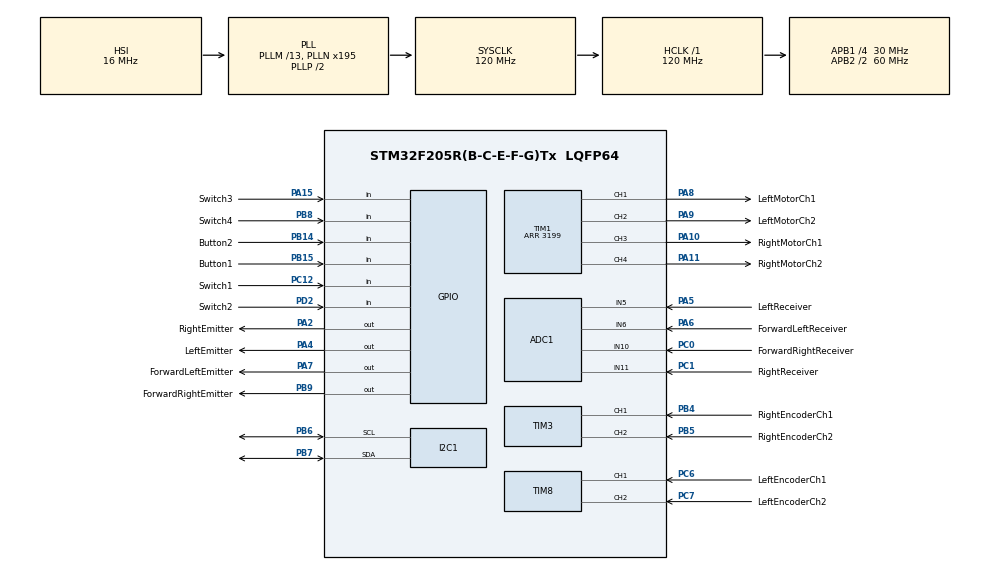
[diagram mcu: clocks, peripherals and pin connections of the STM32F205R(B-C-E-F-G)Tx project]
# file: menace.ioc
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ADC1.Channel-1\#ChannelRegularConversion=ADC_CHANNEL_5
ADC1.Channel-5\#ChannelRegularConversion=ADC_CHANNEL_6
ADC1.Channel-6\#ChannelRegularConversion=ADC_CHANNEL_10
ADC1.Channel-7\#ChannelRegularConversion=ADC_CHANNEL_11
ADC1.ClockPrescaler=ADC_CLOCK_SYNC_PCLK_DIV8
ADC1.ContinuousConvMode=ENABLE
ADC1.DMAContinuousRequests=ENABLE
ADC1.DiscontinuousConvMode=DISABLE
ADC1.NbrOfConversion=4
ADC1.NbrOfConversionFlag=1
ADC1.Rank-1\#ChannelRegularConversion=1
ADC1.Rank-5\#ChannelRegularConversion=2
ADC1.Rank-6\#ChannelRegularConversion=3
ADC1.Rank-7\#ChannelRegularConversion=4
ADC1.SamplingTime-1\#ChannelRegularConversion=ADC_SAMPLETIME_3CYCLES
ADC1.SamplingTime-5\#ChannelRegularConversion=ADC_SAMPLETIME_3CYCLES
ADC1.SamplingTime-6\#ChannelRegularConversion=ADC_SAMPLETIME_3CYCLES
ADC1.SamplingTime-7\#ChannelRegularConversion=ADC_SAMPLETIME_3CYCLES
ADC1.ScanConvMode=ENABLE
ADC1.master=1
Dma.ADC1.0.Direction=DMA_PERIPH_TO_MEMORY
Dma.ADC1.0.FIFOMode=DMA_FIFOMODE_DISABLE
Dma.ADC1.0.Instance=DMA2_Stream0
Dma.ADC1.0.MemDataAlignment=DMA_MDATAALIGN_WORD
Dma.ADC1.0.MemInc=DMA_MINC_ENABLE
Dma.ADC1.0.Mode=DMA_CIRCULAR
Dma.ADC1.0.PeriphDataAlignment=DMA_PDATAALIGN_WORD
Dma.ADC1.0.PeriphInc=DMA_PINC_DISABLE
Dma.ADC1.0.Priority=DMA_PRIORITY_LOW
Dma.Request0=ADC1
I2C1.I2C_Mode=I2C_Fast
Mcu.Family=STM32F2
Mcu.Name=STM32F205R(B-C-E-F-G)Tx
Mcu.Package=LQFP64
NVIC.DMA2_Stream0_IRQn=true\:0\:0\:false\:false\:true\:false\:true\:true
NVIC.PriorityGroup=NVIC_PRIORITYGROUP_4
NVIC.TIM1_UP_TIM10_IRQn=true\:0\:0\:false\:false\:true\:true\:true\:true
NVIC.TIM7_IRQn=true\:0\:0\:false\:false\:true\:true\:true\:true
PA10.GPIO_Label=RightMotorCh1
PA10.Signal=S_TIM1_CH3
PA11.GPIO_Label=RightMotorCh2
PA11.Signal=S_TIM1_CH4
PA15.GPIO_Label=Switch3
PA15.Signal=GPIO_Input
PA2.GPIO_Label=RightEmitter
PA2.Signal=GPIO_Output
PA3.GPIO_Label=Buzzer
PA3.Signal=S_TIM2_CH4
PA4.GPIO_Label=LeftEmitter
PA4.Signal=GPIO_Output
PA5.GPIO_Label=LeftReceiver
PA5.Signal=ADCx_IN5
PA6.GPIO_Label=ForwardLeftReceiver
PA6.Signal=ADCx_IN6
PA7.GPIO_Label=ForwardLeftEmitter
PA7.Signal=GPIO_Output
PA8.GPIO_Label=LeftMotorCh1
PA8.Signal=S_TIM1_CH1
PA9.GPIO_Label=LeftMotorCh2
PA9.Signal=S_TIM1_CH2
PB14.GPIO_Label=Button2
PB14.Signal=GPIO_Input
PB15.GPIO_Label=Button1
PB15.Signal=GPIO_Input
PB4.GPIO_Label=RightEncoderCh1
PB4.Signal=S_TIM3_CH1
PB5.GPIO_Label=RightEncoderCh2
PB5.Signal=S_TIM3_CH2
PB6.Mode=I2C
PB6.Signal=I2C1_SCL
PB7.Mode=I2C
PB7.Signal=I2C1_SDA
PB8.GPIO_Label=Switch4
PB8.Signal=GPIO_Input
PB9.GPIO_Label=ForwardRightEmitter
PB9.Signal=GPIO_Output
PC0.GPIO_Label=ForwardRightReceiver
PC0.Signal=ADCx_IN10
PC1.GPIO_Label=RightReceiver
PC1.Signal=ADCx_IN11
PC12.GPIO_Label=Switch1
PC12.Signal=GPIO_Input
PC6.GPIO_Label=LeftEncoderCh1
PC6.Signal=S_TIM8_CH1
PC7.GPIO_Label=LeftEncoderCh2
PC7.Signal=S_TIM8_CH2
PD2.GPIO_Label=Switch2
PD2.Signal=GPIO_Input
ProjectManager.HeapSize=0x200
ProjectManager.StackSize=0x400
ProjectManager.TargetToolchain=STM32CubeIDE
RCC.48MHZClocksFreq_Value=60000000
RCC.AHBFreq_Value=120000000
RCC.APB1CLKDivider=RCC_HCLK_DIV4
RCC.APB1Freq_Value=30000000
RCC.APB1TimFreq_Value=60000000
RCC.APB2CLKDivider=RCC_HCLK_DIV2
RCC.APB2Freq_Value=60000000
RCC.APB2TimFreq_Value=120000000
RCC.CortexFreq_Value=120000000
RCC.HCLKFreq_Value=120000000
RCC.HSE_VALUE=25000000
RCC.HSI_VALUE=16000000
RCC.LSE_VALUE=32768
RCC.PLLM=13
RCC.PLLN=195
RCC.SYSCLKFreq_VALUE=120000000
RCC.SYSCLKSource=RCC_SYSCLKSOURCE_PLLCLK
RCC.VCOOutputFreq_Value=240000000
SH.ADCx_IN10.0=ADC1_IN10,IN10
SH.ADCx_IN11.0=ADC1_IN11,IN11
SH.ADCx_IN5.0=ADC1_IN5,IN5
SH.ADCx_IN6.0=ADC1_IN6,IN6
SH.S_TIM1_CH1.0=TIM1_CH1,PWM Generation1 CH1
SH.S_TIM1_CH2.0=TIM1_CH2,PWM Generation2 CH2
SH.S_TIM1_CH3.0=TIM1_CH3,PWM Generation3 CH3
SH.S_TIM1_CH4.0=TIM1_CH4,PWM Generation4 CH4
SH.S_TIM2_CH4.0=TIM2_CH4
SH.S_TIM3_CH1.0=TIM3_CH1,Encoder_Interface
SH.S_TIM3_CH2.0=TIM3_CH2,Encoder_Interface
SH.S_TIM8_CH1.0=TIM8_CH1,Encoder_Interface
SH.S_TIM8_CH2.0=TIM8_CH2,Encoder_Interface
TIM1.Channel-PWM\ Generation1\ CH1=TIM_CHANNEL_1
TIM1.Channel-PWM\ Generation2\ CH2=TIM_CHANNEL_2
TIM1.Channel-PWM\ Generation3\ CH3=TIM_CHANNEL_3
TIM1.Channel-PWM\ Generation4\ CH4=TIM_CHANNEL_4
TIM1.Period=3199
TIM3.EncoderMode=TIM_ENCODERMODE_TI12
TIM7.Period=499
TIM7.Prescaler=59
TIM7.TIM_MasterOutputTrigger=TIM_TRGO_RESET
TIM8.EncoderMode=TIM_ENCODERMODE_TI12
VP_TIM10_VS_ClockSourceINT.Mode=Enable_Timer
VP_TIM7_VS_ClockSourceINT.Mode=Enable_Timer
board=custom

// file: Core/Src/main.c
/* USER CODE BEGIN Header */
/**
  ******************************************************************************
  * @file           : main.c
  * @brief          : Main program body
  ******************************************************************************
  * @attention
  *
  * Copyright (c) 2025 STMicroelectronics.
  * All rights reserved.
  *
  * This software is licensed under terms that can be found in the LICENSE file
  * in the root directory of this software component.
  * If no LICENSE file comes with this software, it is provided AS-IS.
  *
  ******************************************************************************
  */
/* USER CODE END Header */
#include "main.h"

/* USER CODE BEGIN Includes */
#include "encoders.h"
#include "motors.h"
#include "gyro.h"
#include "delay.h"
#include "controller.h"
#include "pid3.h"
#include "solver.h"
/* USER CODE END Includes */

/* USER CODE BEGIN PD */
#define IR_SAMPLES 256
/* USER CODE END PD */

ADC_HandleTypeDef hadc1;
DMA_HandleTypeDef hdma_adc1;

I2C_HandleTypeDef hi2c1;

TIM_HandleTypeDef htim1;
TIM_HandleTypeDef htim3;
TIM_HandleTypeDef htim7;
TIM_HandleTypeDef htim8;
TIM_HandleTypeDef htim10;

/* USER CODE BEGIN PV */

// User Interface
GPIO_PinState S1, S2, S3, S4, B1, B2;

// Encoders
int16_t left_counts = 0;
int16_t right_counts = 0;

// IRs
float ir_left, ir_front_left, ir_front_right, ir_right;
uint32_t adc_buf[IR_SAMPLES * 4];

// Gyro
uint8_t gyro_inited = 0;

// Temps
uint8_t start = 0;
uint32_t temp_tick = 0;
uint32_t temp_adc = 0;

uint32_t temp_left = 0;
uint32_t temp_front_left = 0;
uint32_t temp_front_right = 0;
uint32_t temp_ir_right = 0;

// Misc
uint8_t max_forward = 10;

int test_dist = 180;

/* USER CODE END PV */

void SystemClock_Config(void);
static void MX_GPIO_Init(void);
static void MX_DMA_Init(void);
static void MX_ADC1_Init(void);
static void MX_TIM1_Init(void);
static void MX_TIM3_Init(void);
static void MX_TIM8_Init(void);
static void MX_TIM7_Init(void);
static void MX_I2C1_Init(void);
static void MX_TIM10_Init(void);

/* USER CODE BEGIN 0 */
void interruptRoutine() {
//	delayMicroseconds(100);

	temp_tick++;
	left_counts = getLeftEncoderCounts();
	right_counts = getRightEncoderCounts();

	if (gyro_inited) {
		updatePID();
	}
}

void solve(Algorithm alg) {
	Action nextMove = solver(alg);
	switch(nextMove) {
		case FORWARD:
//			move(0);
//			move(1);
			if (alg == FLOODFILL)
			{
//				TODO
				int extra_moves = foresight(); // Already has curr position and heading
				if (extra_moves > max_forward) {
					extra_moves = max_forward;
				}
				for (int i = 0; i < extra_moves; i++)
				{
					solver(FLOODFILL);
				}
				move(180 + 180 * extra_moves);
			}
			else
				move(180);
			break;
		case LEFT:
//			displayFace(goodright);
//			move(0);
			turn(-90);
			break;
		case RIGHT:
//			displayFace(goodleft);
//			move(0);
			turn(90);
			break;
		case IDLE:
			break;
	}
	if (ir_front_left > 1200 && ir_front_right > 1200) {
		delayMicroseconds(10000);
		frontCorrection();
		delayMicroseconds(10000);
	}
}
/* USER CODE END 0 */

int main(void)
{

  /* MCU Configuration--------------------------------------------------------*/

  /* Reset of all peripherals, Initializes the Flash interface and the Systick. */
  HAL_Init();

  /* USER CODE BEGIN Init */
//  Delay_Init();
  /* USER CODE END Init */

  /* Configure the system clock */
  SystemClock_Config();

  /* Initialize all configured peripherals */
  MX_GPIO_Init();
  MX_DMA_Init();
  MX_ADC1_Init();
  MX_TIM1_Init();
  MX_TIM3_Init();
  MX_TIM8_Init();
  MX_TIM7_Init();
  MX_I2C1_Init();
  MX_TIM10_Init();
  /* USER CODE BEGIN 2 */

  // Encoder Timers
  HAL_TIM_Encoder_Start(&htim3, TIM_CHANNEL_ALL);
  HAL_TIM_Encoder_Start(&htim8, TIM_CHANNEL_ALL);

  // Motor Timers
  HAL_TIM_PWM_Start(&htim1, TIM_CHANNEL_1);
  HAL_TIM_PWM_Start(&htim1, TIM_CHANNEL_2);
  HAL_TIM_PWM_Start(&htim1, TIM_CHANNEL_3);
  HAL_TIM_PWM_Start(&htim1, TIM_CHANNEL_4);

  // Delay us timer (MUST START BEFORE INTERRUPT TIMER)
  HAL_TIM_Base_Start(&htim10);

  // Interrupt Timer
  HAL_TIM_Base_Start_IT(&htim7);

  HAL_ADC_Start_DMA(&hadc1, (uint32_t*)adc_buf, IR_SAMPLES * 4);

  HAL_GPIO_WritePin(ForwardLeftEmitter_GPIO_Port, ForwardLeftEmitter_Pin, GPIO_PIN_SET);
  HAL_GPIO_WritePin(LeftEmitter_GPIO_Port, LeftEmitter_Pin, GPIO_PIN_SET);
  HAL_GPIO_WritePin(RightEmitter_GPIO_Port, RightEmitter_Pin, GPIO_PIN_SET);
  HAL_GPIO_WritePin(ForwardRightEmitter_GPIO_Port, ForwardRightEmitter_Pin, GPIO_PIN_SET);

  /* USER CODE END 2 */

  /* Infinite loop */
  while (1)
  {

    /* USER CODE BEGIN 3 */

	S1 = HAL_GPIO_ReadPin(Button1_GPIO_Port, Switch1_Pin);
	S2 = HAL_GPIO_ReadPin(Switch2_GPIO_Port, Switch2_Pin);
	S3 = HAL_GPIO_ReadPin(Switch3_GPIO_Port, Switch3_Pin);
	S4 = HAL_GPIO_ReadPin(Switch4_GPIO_Port, Switch4_Pin);
	B1 = HAL_GPIO_ReadPin(Button1_GPIO_Port, Button1_Pin);
	B2 = HAL_GPIO_ReadPin(Button2_GPIO_Port, Button2_Pin);

	if (B1 == GPIO_PIN_SET) {
		gyroInit();
		gyro_inited = 1;
		setIRGoals(ir_front_left, ir_front_right, ir_left, ir_right);
		setState(START);
	}

	if (B2 == GPIO_PIN_SET) {
		start = 1;

//		frontCorrection();
		move(90 - 34.5);

//		move(180);

//		move(180 * 3);
//		turn(90);
//		turn(90);
//		move(180);
//		move(180);
//		move(180);
//		turn(-90);
//		turn(-90);
//		move(test_dist);
	}

	if (start) {
		solve(FLOODFILL);

	}

  }
  /* USER CODE END 3 */
}

void SystemClock_Config(void)
{
  RCC_OscInitTypeDef RCC_OscInitStruct = {0};
  RCC_ClkInitTypeDef RCC_ClkInitStruct = {0};

  /** Initializes the RCC Oscillators according to the specified parameters
  * in the RCC_OscInitTypeDef structure.
  */
  RCC_OscInitStruct.OscillatorType = RCC_OSCILLATORTYPE_HSI;
  RCC_OscInitStruct.HSIState = RCC_HSI_ON;
  RCC_OscInitStruct.HSICalibrationValue = RCC_HSICALIBRATION_DEFAULT;
  RCC_OscInitStruct.PLL.PLLState = RCC_PLL_ON;
  RCC_OscInitStruct.PLL.PLLSource = RCC_PLLSOURCE_HSI;
  RCC_OscInitStruct.PLL.PLLM = 13;
  RCC_OscInitStruct.PLL.PLLN = 195;
  RCC_OscInitStruct.PLL.PLLP = RCC_PLLP_DIV2;
  RCC_OscInitStruct.PLL.PLLQ = 4;
  if (HAL_RCC_OscConfig(&RCC_OscInitStruct) != HAL_OK)
  {
    Error_Handler();
  }

  /** Initializes the CPU, AHB and APB buses clocks
  */
  RCC_ClkInitStruct.ClockType = RCC_CLOCKTYPE_HCLK|RCC_CLOCKTYPE_SYSCLK
                              |RCC_CLOCKTYPE_PCLK1|RCC_CLOCKTYPE_PCLK2;
  RCC_ClkInitStruct.SYSCLKSource = RCC_SYSCLKSOURCE_PLLCLK;
  RCC_ClkInitStruct.AHBCLKDivider = RCC_SYSCLK_DIV1;
  RCC_ClkInitStruct.APB1CLKDivider = RCC_HCLK_DIV4;
  RCC_ClkInitStruct.APB2CLKDivider = RCC_HCLK_DIV2;

  if (HAL_RCC_ClockConfig(&RCC_ClkInitStruct, FLASH_LATENCY_3) != HAL_OK)
  {
    Error_Handler();
  }
}

static void MX_ADC1_Init(void)
{

  ADC_ChannelConfTypeDef sConfig = {0};

  /** Configure the global features of the ADC (Clock, Resolution, Data Alignment and number of conversion)
  */
  hadc1.Instance = ADC1;
  hadc1.Init.ClockPrescaler = ADC_CLOCK_SYNC_PCLK_DIV8;
  hadc1.Init.Resolution = ADC_RESOLUTION_12B;
  hadc1.Init.ScanConvMode = ENABLE;
  hadc1.Init.ContinuousConvMode = ENABLE;
  hadc1.Init.DiscontinuousConvMode = DISABLE;
  hadc1.Init.ExternalTrigConvEdge = ADC_EXTERNALTRIGCONVEDGE_NONE;
  hadc1.Init.ExternalTrigConv = ADC_SOFTWARE_START;
  hadc1.Init.DataAlign = ADC_DATAALIGN_RIGHT;
  hadc1.Init.NbrOfConversion = 4;
  hadc1.Init.DMAContinuousRequests = ENABLE;
  hadc1.Init.EOCSelection = ADC_EOC_SINGLE_CONV;
  if (HAL_ADC_Init(&hadc1) != HAL_OK)
  {
    Error_Handler();
  }

  /** Configure for the selected ADC regular channel its corresponding rank in the sequencer and its sample time.
  */
  sConfig.Channel = ADC_CHANNEL_5;
  sConfig.Rank = 1;
  sConfig.SamplingTime = ADC_SAMPLETIME_3CYCLES;
  if (HAL_ADC_ConfigChannel(&hadc1, &sConfig) != HAL_OK)
  {
    Error_Handler();
  }

  /** Configure for the selected ADC regular channel its corresponding rank in the sequencer and its sample time.
  */
  sConfig.Channel = ADC_CHANNEL_6;
  sConfig.Rank = 2;
  if (HAL_ADC_ConfigChannel(&hadc1, &sConfig) != HAL_OK)
  {
    Error_Handler();
  }

  /** Configure for the selected ADC regular channel its corresponding rank in the sequencer and its sample time.
  */
  sConfig.Channel = ADC_CHANNEL_10;
  sConfig.Rank = 3;
  if (HAL_ADC_ConfigChannel(&hadc1, &sConfig) != HAL_OK)
  {
    Error_Handler();
  }

  /** Configure for the selected ADC regular channel its corresponding rank in the sequencer and its sample time.
  */
  sConfig.Channel = ADC_CHANNEL_11;
  sConfig.Rank = 4;
  if (HAL_ADC_ConfigChannel(&hadc1, &sConfig) != HAL_OK)
  {
    Error_Handler();
  }

}

static void MX_I2C1_Init(void)
{

  hi2c1.Instance = I2C1;
  hi2c1.Init.ClockSpeed = 400000;
  hi2c1.Init.DutyCycle = I2C_DUTYCYCLE_2;
  hi2c1.Init.OwnAddress1 = 0;
  hi2c1.Init.AddressingMode = I2C_ADDRESSINGMODE_7BIT;
  hi2c1.Init.DualAddressMode = I2C_DUALADDRESS_DISABLE;
  hi2c1.Init.OwnAddress2 = 0;
  hi2c1.Init.GeneralCallMode = I2C_GENERALCALL_DISABLE;
  hi2c1.Init.NoStretchMode = I2C_NOSTRETCH_DISABLE;
  if (HAL_I2C_Init(&hi2c1) != HAL_OK)
  {
    Error_Handler();
  }

}

static void MX_TIM1_Init(void)
{

  TIM_MasterConfigTypeDef sMasterConfig = {0};
  TIM_OC_InitTypeDef sConfigOC = {0};
  TIM_BreakDeadTimeConfigTypeDef sBreakDeadTimeConfig = {0};

  htim1.Instance = TIM1;
  htim1.Init.Prescaler = 0;
  htim1.Init.CounterMode = TIM_COUNTERMODE_UP;
  htim1.Init.Period = 3199;
  htim1.Init.ClockDivision = TIM_CLOCKDIVISION_DIV1;
  htim1.Init.RepetitionCounter = 0;
  htim1.Init.AutoReloadPreload = TIM_AUTORELOAD_PRELOAD_DISABLE;
  if (HAL_TIM_PWM_Init(&htim1) != HAL_OK)
  {
    Error_Handler();
  }
  sMasterConfig.MasterOutputTrigger = TIM_TRGO_RESET;
  sMasterConfig.MasterSlaveMode = TIM_MASTERSLAVEMODE_DISABLE;
  if (HAL_TIMEx_MasterConfigSynchronization(&htim1, &sMasterConfig) != HAL_OK)
  {
    Error_Handler();
  }
  sConfigOC.OCMode = TIM_OCMODE_PWM1;
  sConfigOC.Pulse = 0;
  sConfigOC.OCPolarity = TIM_OCPOLARITY_HIGH;
  sConfigOC.OCNPolarity = TIM_OCNPOLARITY_HIGH;
  sConfigOC.OCFastMode = TIM_OCFAST_DISABLE;
  sConfigOC.OCIdleState = TIM_OCIDLESTATE_RESET;
  sConfigOC.OCNIdleState = TIM_OCNIDLESTATE_RESET;
  if (HAL_TIM_PWM_ConfigChannel(&htim1, &sConfigOC, TIM_CHANNEL_1) != HAL_OK)
  {
    Error_Handler();
  }
  if (HAL_TIM_PWM_ConfigChannel(&htim1, &sConfigOC, TIM_CHANNEL_2) != HAL_OK)
  {
    Error_Handler();
  }
  if (HAL_TIM_PWM_ConfigChannel(&htim1, &sConfigOC, TIM_CHANNEL_3) != HAL_OK)
  {
    Error_Handler();
  }
  if (HAL_TIM_PWM_ConfigChannel(&htim1, &sConfigOC, TIM_CHANNEL_4) != HAL_OK)
  {
    Error_Handler();
  }
  sBreakDeadTimeConfig.OffStateRunMode = TIM_OSSR_DISABLE;
  sBreakDeadTimeConfig.OffStateIDLEMode = TIM_OSSI_DISABLE;
  sBreakDeadTimeConfig.LockLevel = TIM_LOCKLEVEL_OFF;
  sBreakDeadTimeConfig.DeadTime = 0;
  sBreakDeadTimeConfig.BreakState = TIM_BREAK_DISABLE;
  sBreakDeadTimeConfig.BreakPolarity = TIM_BREAKPOLARITY_HIGH;
  sBreakDeadTimeConfig.AutomaticOutput = TIM_AUTOMATICOUTPUT_DISABLE;
  if (HAL_TIMEx_ConfigBreakDeadTime(&htim1, &sBreakDeadTimeConfig) != HAL_OK)
  {
    Error_Handler();
  }
  HAL_TIM_MspPostInit(&htim1);

}

static void MX_TIM3_Init(void)
{

  TIM_Encoder_InitTypeDef sConfig = {0};
  TIM_MasterConfigTypeDef sMasterConfig = {0};

  htim3.Instance = TIM3;
  htim3.Init.Prescaler = 0;
  htim3.Init.CounterMode = TIM_COUNTERMODE_UP;
  htim3.Init.Period = 65535;
  htim3.Init.ClockDivision = TIM_CLOCKDIVISION_DIV1;
  htim3.Init.AutoReloadPreload = TIM_AUTORELOAD_PRELOAD_DISABLE;
  sConfig.EncoderMode = TIM_ENCODERMODE_TI12;
  sConfig.IC1Polarity = TIM_ICPOLARITY_RISING;
  sConfig.IC1Selection = TIM_ICSELECTION_DIRECTTI;
  sConfig.IC1Prescaler = TIM_ICPSC_DIV1;
  sConfig.IC1Filter = 0;
  sConfig.IC2Polarity = TIM_ICPOLARITY_RISING;
  sConfig.IC2Selection = TIM_ICSELECTION_DIRECTTI;
  sConfig.IC2Prescaler = TIM_ICPSC_DIV1;
  sConfig.IC2Filter = 0;
  if (HAL_TIM_Encoder_Init(&htim3, &sConfig) != HAL_OK)
  {
    Error_Handler();
  }
  sMasterConfig.MasterOutputTrigger = TIM_TRGO_RESET;
  sMasterConfig.MasterSlaveMode = TIM_MASTERSLAVEMODE_DISABLE;
  if (HAL_TIMEx_MasterConfigSynchronization(&htim3, &sMasterConfig) != HAL_OK)
  {
    Error_Handler();
  }

}

static void MX_TIM7_Init(void)
{

  TIM_MasterConfigTypeDef sMasterConfig = {0};

  htim7.Instance = TIM7;
  htim7.Init.Prescaler = 59;
  htim7.Init.CounterMode = TIM_COUNTERMODE_UP;
  htim7.Init.Period = 499;
  htim7.Init.AutoReloadPreload = TIM_AUTORELOAD_PRELOAD_DISABLE;
  if (HAL_TIM_Base_Init(&htim7) != HAL_OK)
  {
    Error_Handler();
  }
  sMasterConfig.MasterOutputTrigger = TIM_TRGO_RESET;
  sMasterConfig.MasterSlaveMode = TIM_MASTERSLAVEMODE_DISABLE;
  if (HAL_TIMEx_MasterConfigSynchronization(&htim7, &sMasterConfig) != HAL_OK)
  {
    Error_Handler();
  }

}

static void MX_TIM8_Init(void)
{

  TIM_Encoder_InitTypeDef sConfig = {0};
  TIM_MasterConfigTypeDef sMasterConfig = {0};

  htim8.Instance = TIM8;
  htim8.Init.Prescaler = 0;
  htim8.Init.CounterMode = TIM_COUNTERMODE_UP;
  htim8.Init.Period = 65535;
  htim8.Init.ClockDivision = TIM_CLOCKDIVISION_DIV1;
  htim8.Init.RepetitionCounter = 0;
  htim8.Init.AutoReloadPreload = TIM_AUTORELOAD_PRELOAD_DISABLE;
  sConfig.EncoderMode = TIM_ENCODERMODE_TI12;
  sConfig.IC1Polarity = TIM_ICPOLARITY_RISING;
  sConfig.IC1Selection = TIM_ICSELECTION_DIRECTTI;
  sConfig.IC1Prescaler = TIM_ICPSC_DIV1;
  sConfig.IC1Filter = 0;
  sConfig.IC2Polarity = TIM_ICPOLARITY_RISING;
  sConfig.IC2Selection = TIM_ICSELECTION_DIRECTTI;
  sConfig.IC2Prescaler = TIM_ICPSC_DIV1;
  sConfig.IC2Filter = 0;
  if (HAL_TIM_Encoder_Init(&htim8, &sConfig) != HAL_OK)
  {
    Error_Handler();
  }
  sMasterConfig.MasterOutputTrigger = TIM_TRGO_RESET;
  sMasterConfig.MasterSlaveMode = TIM_MASTERSLAVEMODE_DISABLE;
  if (HAL_TIMEx_MasterConfigSynchronization(&htim8, &sMasterConfig) != HAL_OK)
  {
    Error_Handler();
  }

}

static void MX_TIM10_Init(void)
{

  htim10.Instance = TIM10;
  htim10.Init.Prescaler = 0;
  htim10.Init.CounterMode = TIM_COUNTERMODE_UP;
  htim10.Init.Period = 65535;
  htim10.Init.ClockDivision = TIM_CLOCKDIVISION_DIV1;
  htim10.Init.AutoReloadPreload = TIM_AUTORELOAD_PRELOAD_DISABLE;
  if (HAL_TIM_Base_Init(&htim10) != HAL_OK)
  {
    Error_Handler();
  }

}

static void MX_DMA_Init(void)
{

  /* DMA controller clock enable */
  __HAL_RCC_DMA2_CLK_ENABLE();

  /* DMA interrupt init */
  /* DMA2_Stream0_IRQn interrupt configuration */
  HAL_NVIC_SetPriority(DMA2_Stream0_IRQn, 0, 0);
  HAL_NVIC_EnableIRQ(DMA2_Stream0_IRQn);

}

static void MX_GPIO_Init(void)
{
  GPIO_InitTypeDef GPIO_InitStruct = {0};

  /* GPIO Ports Clock Enable */
  __HAL_RCC_GPIOC_CLK_ENABLE();
  __HAL_RCC_GPIOA_CLK_ENABLE();
  __HAL_RCC_GPIOB_CLK_ENABLE();
  __HAL_RCC_GPIOD_CLK_ENABLE();

  /*Configure GPIO pin Output Level */
  HAL_GPIO_WritePin(GPIOA, RightEmitter_Pin|LeftEmitter_Pin|ForwardLeftEmitter_Pin, GPIO_PIN_RESET);

  /*Configure GPIO pin Output Level */
  HAL_GPIO_WritePin(ForwardRightEmitter_GPIO_Port, ForwardRightEmitter_Pin, GPIO_PIN_RESET);

  /*Configure GPIO pins : RightEmitter_Pin LeftEmitter_Pin ForwardLeftEmitter_Pin */
  GPIO_InitStruct.Pin = RightEmitter_Pin|LeftEmitter_Pin|ForwardLeftEmitter_Pin;
  GPIO_InitStruct.Mode = GPIO_MODE_OUTPUT_PP;
  GPIO_InitStruct.Pull = GPIO_NOPULL;
  GPIO_InitStruct.Speed = GPIO_SPEED_FREQ_LOW;
  HAL_GPIO_Init(GPIOA, &GPIO_InitStruct);

  /*Configure GPIO pin : Buzzer_Pin */
  GPIO_InitStruct.Pin = Buzzer_Pin;
  GPIO_InitStruct.Mode = GPIO_MODE_AF_PP;
  GPIO_InitStruct.Pull = GPIO_NOPULL;
  GPIO_InitStruct.Speed = GPIO_SPEED_FREQ_LOW;
  GPIO_InitStruct.Alternate = GPIO_AF1_TIM2;
  HAL_GPIO_Init(Buzzer_GPIO_Port, &GPIO_InitStruct);

  /*Configure GPIO pins : Button2_Pin Button1_Pin Switch4_Pin */
  GPIO_InitStruct.Pin = Button2_Pin|Button1_Pin|Switch4_Pin;
  GPIO_InitStruct.Mode = GPIO_MODE_INPUT;
  GPIO_InitStruct.Pull = GPIO_NOPULL;
  HAL_GPIO_Init(GPIOB, &GPIO_InitStruct);

  /*Configure GPIO pin : Switch3_Pin */
  GPIO_InitStruct.Pin = Switch3_Pin;
  GPIO_InitStruct.Mode = GPIO_MODE_INPUT;
  GPIO_InitStruct.Pull = GPIO_NOPULL;
  HAL_GPIO_Init(Switch3_GPIO_Port, &GPIO_InitStruct);

  /*Configure GPIO pin : Switch1_Pin */
  GPIO_InitStruct.Pin = Switch1_Pin;
  GPIO_InitStruct.Mode = GPIO_MODE_INPUT;
  GPIO_InitStruct.Pull = GPIO_NOPULL;
  HAL_GPIO_Init(Switch1_GPIO_Port, &GPIO_InitStruct);

  /*Configure GPIO pin : Switch2_Pin */
  GPIO_InitStruct.Pin = Switch2_Pin;
  GPIO_InitStruct.Mode = GPIO_MODE_INPUT;
  GPIO_InitStruct.Pull = GPIO_NOPULL;
  HAL_GPIO_Init(Switch2_GPIO_Port, &GPIO_InitStruct);

  /*Configure GPIO pin : ForwardRightEmitter_Pin */
  GPIO_InitStruct.Pin = ForwardRightEmitter_Pin;
  GPIO_InitStruct.Mode = GPIO_MODE_OUTPUT_PP;
  GPIO_InitStruct.Pull = GPIO_NOPULL;
  GPIO_InitStruct.Speed = GPIO_SPEED_FREQ_LOW;
  HAL_GPIO_Init(ForwardRightEmitter_GPIO_Port, &GPIO_InitStruct);

}

/* USER CODE BEGIN 4 */
ADC_HandleTypeDef* Get_HADC1_Ptr(void)
{
	return &hadc1;
}

I2C_HandleTypeDef* Get_I2C1_Ptr(void)
{
	return &hi2c1;
}

void HAL_ADC_ConvCpltCallback(ADC_HandleTypeDef* hadc) {

	temp_left = 0;
	temp_front_left = 0;
	temp_front_right = 0;
	temp_ir_right = 0;

    for (int i = 0; i < IR_SAMPLES * 4; i = i + 4) {
    	temp_left += adc_buf[i];
    	temp_front_left += adc_buf[i+1];
    	temp_front_right += adc_buf[i+2];
    	temp_ir_right += adc_buf[i+3];
    }

    ir_left = temp_left / IR_SAMPLES;
    ir_front_left = temp_front_left / IR_SAMPLES;
    ir_front_right = temp_front_right / IR_SAMPLES;
    ir_right = temp_ir_right / IR_SAMPLES;

    temp_adc++;

}
/* USER CODE END 4 */

void Error_Handler(void)
{
  __disable_irq();
  while (1)
  {
  }
}
